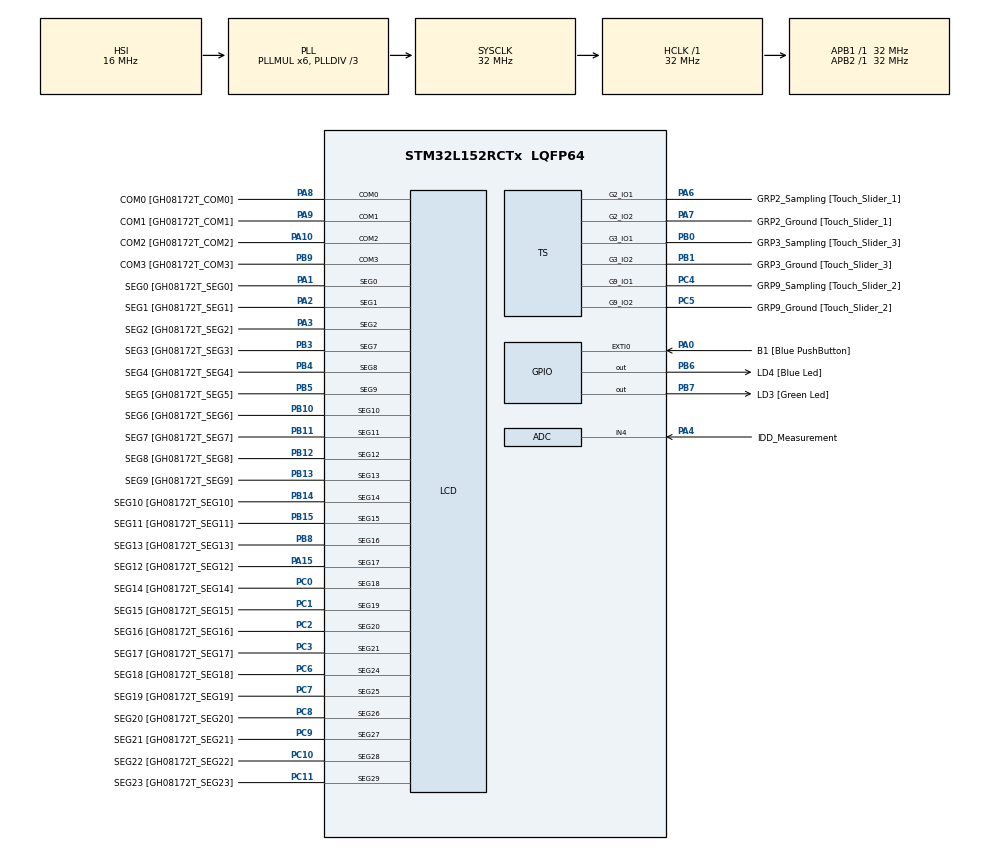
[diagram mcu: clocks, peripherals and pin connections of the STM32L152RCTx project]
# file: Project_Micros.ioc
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ADC.Channel=ADC_CHANNEL_4
ADC.Channel-0\#ChannelRegularConversion=ADC_CHANNEL_4
ADC.Channel-IN4=ADC_CHANNEL_4
ADC.ExternalTrigConv=ADC_EXTERNALTRIGCONV_T2_CC3
ADC.ExternalTrigConv-0\#ChannelRegularConversion=ADC_SOFTWARE_START
ADC.ExternalTrigConvEdge=ADC_EXTERNALTRIGCONVEDGE_RISING
ADC.Rank-0\#ChannelRegularConversion=1
ADC.SamplingTime-0\#ChannelRegularConversion=ADC_SAMPLETIME_4CYCLES
Mcu.Family=STM32L1
Mcu.Name=STM32L152RCTx
Mcu.Package=LQFP64
NVIC.PriorityGroup=NVIC_PRIORITYGROUP_0
PA0-WKUP1.GPIO_Label=B1 [Blue PushButton]
PA0-WKUP1.GPIO_ModeDefaultEXTI=GPIO_MODE_EVT_RISING
PA0-WKUP1.GPIO_PuPd=GPIO_NOPULL
PA0-WKUP1.Signal=GPXTI0
PA1.GPIO_Label=SEG0 [GH08172T_SEG0]
PA1.GPIO_Mode=GPIO_MODE_AF_PP
PA1.GPIO_PuPd=GPIO_NOPULL
PA1.GPIO_Speed=GPIO_SPEED_FREQ_LOW
PA1.Mode=SEG0
PA1.Signal=LCD_SEG0
PA10.GPIO_Label=COM2 [GH08172T_COM2]
PA10.GPIO_Mode=GPIO_MODE_AF_PP
PA10.GPIO_PuPd=GPIO_NOPULL
PA10.GPIO_Speed=GPIO_SPEED_FREQ_LOW
PA10.Mode=1/4 Duty Cycle
PA10.Signal=LCD_COM2
PA13.GPIO_Label=SWDIO
PA13.Mode=Serial_Wire
PA13.Signal=SYS_JTMS-SWDIO
PA14.GPIO_Label=SWCLK
PA14.Mode=Serial_Wire
PA14.Signal=SYS_JTCK-SWCLK
PA15.GPIO_Label=SEG12 [GH08172T_SEG12]
PA15.GPIO_Mode=GPIO_MODE_AF_PP
PA15.GPIO_PuPd=GPIO_NOPULL
PA15.GPIO_Speed=GPIO_SPEED_FREQ_LOW
PA15.Mode=SEG17
PA15.Signal=LCD_SEG17
PA2.GPIO_Label=SEG1 [GH08172T_SEG1]
PA2.GPIO_Mode=GPIO_MODE_AF_PP
PA2.GPIO_PuPd=GPIO_NOPULL
PA2.GPIO_Speed=GPIO_SPEED_FREQ_LOW
PA2.Mode=SEG1
PA2.Signal=LCD_SEG1
PA3.GPIO_Label=SEG2 [GH08172T_SEG2]
PA3.GPIO_Mode=GPIO_MODE_AF_PP
PA3.GPIO_PuPd=GPIO_NOPULL
PA3.GPIO_Speed=GPIO_SPEED_FREQ_LOW
PA3.Mode=SEG2
PA3.Signal=LCD_SEG2
PA4.GPIO_Label=IDD_Measurement
PA4.GPIO_Mode=GPIO_MODE_ANALOG
PA4.GPIO_PuPd=GPIO_NOPULL
PA4.Mode=IN4
PA4.Signal=ADC_IN4
PA6.GPIO_Label=GRP2_Sampling [Touch_Slider_1]
PA6.Mode=G2_IO1-Sampling
PA6.Signal=TS_G2_IO1
PA7.GPIO_Label=GRP2_Ground [Touch_Slider_1]
PA7.Mode=G2_IO2-Channel
PA7.Signal=TS_G2_IO2
PA8.GPIO_Label=COM0 [GH08172T_COM0]
PA8.GPIO_Mode=GPIO_MODE_AF_PP
PA8.GPIO_PuPd=GPIO_NOPULL
PA8.GPIO_Speed=GPIO_SPEED_FREQ_LOW
PA8.Mode=1/4 Duty Cycle
PA8.Signal=LCD_COM0
PA9.GPIO_Label=COM1 [GH08172T_COM1]
PA9.GPIO_Mode=GPIO_MODE_AF_PP
PA9.GPIO_PuPd=GPIO_NOPULL
PA9.GPIO_Speed=GPIO_SPEED_FREQ_LOW
PA9.Mode=1/4 Duty Cycle
PA9.Signal=LCD_COM1
PB0.GPIO_Label=GRP3_Sampling [Touch_Slider_3]
PB0.Mode=G3_IO1-Sampling
PB0.Signal=TS_G3_IO1
PB1.GPIO_Label=GRP3_Ground [Touch_Slider_3]
PB1.Mode=G3_IO2-Channel
PB1.Signal=TS_G3_IO2
PB10.GPIO_Label=SEG6 [GH08172T_SEG6]
PB10.GPIO_Mode=GPIO_MODE_AF_PP
PB10.GPIO_PuPd=GPIO_NOPULL
PB10.GPIO_Speed=GPIO_SPEED_FREQ_LOW
PB10.Mode=SEG10
PB10.Signal=LCD_SEG10
PB11.GPIO_Label=SEG7 [GH08172T_SEG7]
PB11.GPIO_Mode=GPIO_MODE_AF_PP
PB11.GPIO_PuPd=GPIO_NOPULL
PB11.GPIO_Speed=GPIO_SPEED_FREQ_LOW
PB11.Mode=SEG11
PB11.Signal=LCD_SEG11
PB12.GPIO_Label=SEG8 [GH08172T_SEG8]
PB12.GPIO_Mode=GPIO_MODE_AF_PP
PB12.GPIO_PuPd=GPIO_NOPULL
PB12.GPIO_Speed=GPIO_SPEED_FREQ_LOW
PB12.Mode=SEG12
PB12.Signal=LCD_SEG12
PB13.GPIO_Label=SEG9 [GH08172T_SEG9]
PB13.GPIO_Mode=GPIO_MODE_AF_PP
PB13.GPIO_PuPd=GPIO_NOPULL
PB13.GPIO_Speed=GPIO_SPEED_FREQ_LOW
PB13.Mode=SEG13
PB13.Signal=LCD_SEG13
PB14.GPIO_Label=SEG10 [GH08172T_SEG10]
PB14.GPIO_Mode=GPIO_MODE_AF_PP
PB14.GPIO_PuPd=GPIO_NOPULL
PB14.GPIO_Speed=GPIO_SPEED_FREQ_LOW
PB14.Mode=SEG14
PB14.Signal=LCD_SEG14
PB15.GPIO_Label=SEG11 [GH08172T_SEG11]
PB15.GPIO_Mode=GPIO_MODE_AF_PP
PB15.GPIO_PuPd=GPIO_NOPULL
PB15.GPIO_Speed=GPIO_SPEED_FREQ_LOW
PB15.Mode=SEG15
PB15.Signal=LCD_SEG15
PB3.GPIO_Label=SEG3 [GH08172T_SEG3]
PB3.GPIO_Mode=GPIO_MODE_AF_PP
PB3.GPIO_PuPd=GPIO_NOPULL
PB3.GPIO_Speed=GPIO_SPEED_FREQ_LOW
PB3.Mode=SEG7
PB3.Signal=LCD_SEG7
PB4.GPIO_Label=SEG4 [GH08172T_SEG4]
PB4.GPIO_Mode=GPIO_MODE_AF_PP
PB4.GPIO_PuPd=GPIO_NOPULL
PB4.GPIO_Speed=GPIO_SPEED_FREQ_LOW
PB4.Mode=SEG8
PB4.Signal=LCD_SEG8
PB5.GPIO_Label=SEG5 [GH08172T_SEG5]
PB5.GPIO_Mode=GPIO_MODE_AF_PP
PB5.GPIO_PuPd=GPIO_NOPULL
PB5.GPIO_Speed=GPIO_SPEED_FREQ_LOW
PB5.Mode=SEG9
PB5.Signal=LCD_SEG9
PB6.GPIO_Label=LD4 [Blue Led]
PB6.GPIO_ModeDefaultOutputPP=GPIO_MODE_OUTPUT_PP
PB6.GPIO_PuPd=GPIO_NOPULL
PB6.GPIO_Speed=GPIO_SPEED_FREQ_LOW
PB6.Signal=GPIO_Output
PB7.GPIO_Label=LD3 [Green Led]
PB7.GPIO_ModeDefaultOutputPP=GPIO_MODE_OUTPUT_PP
PB7.GPIO_PuPd=GPIO_NOPULL
PB7.GPIO_Speed=GPIO_SPEED_FREQ_LOW
PB7.Signal=GPIO_Output
PB8.GPIO_Label=SEG13 [GH08172T_SEG13]
PB8.GPIO_Mode=GPIO_MODE_AF_PP
PB8.GPIO_PuPd=GPIO_NOPULL
PB8.GPIO_Speed=GPIO_SPEED_FREQ_LOW
PB8.Mode=SEG16
PB8.Signal=LCD_SEG16
PB9.GPIO_Label=COM3 [GH08172T_COM3]
PB9.GPIO_Mode=GPIO_MODE_AF_PP
PB9.GPIO_PuPd=GPIO_NOPULL
PB9.GPIO_Speed=GPIO_SPEED_FREQ_LOW
PB9.Mode=1/4 Duty Cycle
PB9.Signal=LCD_COM3
PC0.GPIO_Label=SEG14 [GH08172T_SEG14]
PC0.GPIO_Mode=GPIO_MODE_AF_PP
PC0.GPIO_PuPd=GPIO_NOPULL
PC0.GPIO_Speed=GPIO_SPEED_FREQ_LOW
PC0.Mode=SEG18
PC0.Signal=LCD_SEG18
PC1.GPIO_Label=SEG15 [GH08172T_SEG15]
PC1.GPIO_Mode=GPIO_MODE_AF_PP
PC1.GPIO_PuPd=GPIO_NOPULL
PC1.GPIO_Speed=GPIO_SPEED_FREQ_LOW
PC1.Mode=SEG19
PC1.Signal=LCD_SEG19
PC10.GPIO_Label=SEG22 [GH08172T_SEG22]
PC10.GPIO_Mode=GPIO_MODE_AF_PP
PC10.GPIO_PuPd=GPIO_NOPULL
PC10.GPIO_Speed=GPIO_SPEED_FREQ_LOW
PC10.Mode=SEG28
PC10.Signal=LCD_SEG28
PC11.GPIO_Label=SEG23 [GH08172T_SEG23]
PC11.GPIO_Mode=GPIO_MODE_AF_PP
PC11.GPIO_PuPd=GPIO_NOPULL
PC11.GPIO_Speed=GPIO_SPEED_FREQ_LOW
PC11.Mode=SEG29
PC11.Signal=LCD_SEG29
PC14-OSC32_IN.GPIO_Label=PC14-OSC32_IN
PC14-OSC32_IN.Mode=LSE-External-Oscillator
PC14-OSC32_IN.Signal=RCC_OSC32_IN
PC15-OSC32_OUT.GPIO_Label=PC15-OSC32_OUT
PC15-OSC32_OUT.Mode=LSE-External-Oscillator
PC15-OSC32_OUT.Signal=RCC_OSC32_OUT
PC2.GPIO_Label=SEG16 [GH08172T_SEG16]
PC2.GPIO_Mode=GPIO_MODE_AF_PP
PC2.GPIO_PuPd=GPIO_NOPULL
PC2.GPIO_Speed=GPIO_SPEED_FREQ_LOW
PC2.Mode=SEG20
PC2.Signal=LCD_SEG20
PC3.GPIO_Label=SEG17 [GH08172T_SEG17]
PC3.GPIO_Mode=GPIO_MODE_AF_PP
PC3.GPIO_PuPd=GPIO_NOPULL
PC3.GPIO_Speed=GPIO_SPEED_FREQ_LOW
PC3.Mode=SEG21
PC3.Signal=LCD_SEG21
PC4.GPIO_Label=GRP9_Sampling [Touch_Slider_2]
PC4.Mode=G9_IO1-Sampling
PC4.Signal=TS_G9_IO1
PC5.GPIO_Label=GRP9_Ground [Touch_Slider_2]
PC5.Mode=G9_IO2-Channel
PC5.Signal=TS_G9_IO2
PC6.GPIO_Label=SEG18 [GH08172T_SEG18]
PC6.GPIO_Mode=GPIO_MODE_AF_PP
PC6.GPIO_PuPd=GPIO_NOPULL
PC6.GPIO_Speed=GPIO_SPEED_FREQ_LOW
PC6.Mode=SEG24
PC6.Signal=LCD_SEG24
PC7.GPIO_Label=SEG19 [GH08172T_SEG19]
PC7.GPIO_Mode=GPIO_MODE_AF_PP
PC7.GPIO_PuPd=GPIO_NOPULL
PC7.GPIO_Speed=GPIO_SPEED_FREQ_LOW
PC7.Mode=SEG25
PC7.Signal=LCD_SEG25
PC8.GPIO_Label=SEG20 [GH08172T_SEG20]
PC8.GPIO_Mode=GPIO_MODE_AF_PP
PC8.GPIO_PuPd=GPIO_NOPULL
PC8.GPIO_Speed=GPIO_SPEED_FREQ_LOW
PC8.Mode=SEG26
PC8.Signal=LCD_SEG26
PC9.GPIO_Label=SEG21 [GH08172T_SEG21]
PC9.GPIO_Mode=GPIO_MODE_AF_PP
PC9.GPIO_PuPd=GPIO_NOPULL
PC9.GPIO_Speed=GPIO_SPEED_FREQ_LOW
PC9.Mode=SEG27
PC9.Signal=LCD_SEG27
ProjectManager.HeapSize=0x200
ProjectManager.StackSize=0x400
ProjectManager.TargetToolchain=STM32CubeIDE
RCC.48MHZClocksFreq_Value=48000000
RCC.AHBFreq_Value=32000000
RCC.APB1Freq_Value=32000000
RCC.APB1TimFreq_Value=32000000
RCC.APB2Freq_Value=32000000
RCC.APB2TimFreq_Value=32000000
RCC.HCLKFreq_Value=32000000
RCC.HSE_VALUE=8000000
RCC.HSI_VALUE=16000000
RCC.MSI_VALUE=2097000
RCC.PLLDIV=RCC_PLL_DIV3
RCC.PLLMUL=RCC_PLL_MUL6
RCC.RTCClockSelectionVirtual=RCC_RTCCLKSOURCE_LSE
RCC.SYSCLKFreq_VALUE=32000000
RCC.SYSCLKSource=RCC_SYSCLKSOURCE_PLLCLK
RCC.USBOutput=48000000
RCC.VCOOutputFreq_Value=96000000
board=STM32L152C-DISCO

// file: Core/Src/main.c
/* USER CODE BEGIN Header */
/**
  ******************************************************************************
  * @file           : main.c
  * @brief          : Main program body
  ******************************************************************************
  * @attention
  *
  * Copyright (c) 2024 STMicroelectronics.
  * All rights reserved.
  *
  * This software is licensed under terms that can be found in the LICENSE file
  * in the root directory of this software component.
  * If no LICENSE file comes with this software, it is provided AS-IS.
  *
  ******************************************************************************
  */
/* USER CODE END Header */
#include "main.h"

/* USER CODE BEGIN Includes */
#include "stm32l1xx_hal.h"
/* USER CODE END Includes */

/* USER CODE BEGIN PD */
// Define GPIO pins connected to the motor driver
#define MOTOR_A_IN1_PIN GPIO_PIN_6 // PC6
#define MOTOR_A_IN2_PIN GPIO_PIN_7 // PC7
#define MOTOR_B_IN3_PIN GPIO_PIN_8 // PC8
#define MOTOR_B_IN4_PIN GPIO_PIN_9 // PC9
/* USER CODE END PD */

ADC_HandleTypeDef hadc;

LCD_HandleTypeDef hlcd;

void SystemClock_Config(void);
static void MX_GPIO_Init(void);
static void MX_ADC_Init(void);
static void MX_LCD_Init(void);
static void MX_TS_Init(void);
/* USER CODE BEGIN PFP */
void stopWheels(void);
void moveForward(void);
void turnRight(void);
void turnLeft(void);
void moveBackward(void);
void espera(uint32_t ms);
/* USER CODE END PFP */

/* USER CODE BEGIN 0 */
void stopWheels(void) {
    // Stop both motors
    GPIOC->BSRR = (GPIO_PIN_6 | GPIO_PIN_7 | GPIO_PIN_8 | GPIO_PIN_9) << 16;

}

void moveForward(void) {
    // Move both motors forward
    GPIOC->BSRR = GPIO_PIN_6 | GPIO_PIN_8;
    GPIOC->BSRR = (GPIO_PIN_7 | GPIO_PIN_9) << 16;
}

void turnRight(void) {
    // Turn right by moving right motor forward and left motor backward
    GPIOC->BSRR = GPIO_PIN_6 | GPIO_PIN_9;
    GPIOC->BSRR = (GPIO_PIN_7 | GPIO_PIN_8) << 16;
}

void turnLeft(void) {
    // Turn left by moving left motor forward and right motor backward
    GPIOC->BSRR = GPIO_PIN_7 | GPIO_PIN_8;
    GPIOC->BSRR = (GPIO_PIN_6 | GPIO_PIN_9) << 16;
}

void moveBackward(void) {
    // Move both motors backward
    GPIOC->BSRR = GPIO_PIN_7 | GPIO_PIN_9;
    GPIOC->BSRR = (GPIO_PIN_6 | GPIO_PIN_8) << 16;
}

void espera(uint32_t ms) {
    HAL_Delay(ms);
}
/* USER CODE END 0 */

int main(void)
{
  /* USER CODE BEGIN 1 */
    HAL_Init(); // Initialize HAL

    // Configure GPIO pins connected to the L298N motor driver
    GPIO_InitTypeDef GPIO_InitStruct = {0};
    GPIO_InitStruct.Pin = GPIO_PIN_6|GPIO_PIN_7|GPIO_PIN_8|GPIO_PIN_9;
    GPIO_InitStruct.Mode = GPIO_MODE_OUTPUT_PP;
    GPIO_InitStruct.Pull = GPIO_NOPULL;
    GPIO_InitStruct.Speed = GPIO_SPEED_FREQ_LOW;
    HAL_GPIO_Init(GPIOC, &GPIO_InitStruct);
  /* USER CODE END 1 */

  /* MCU Configuration--------------------------------------------------------*/

  /* Reset of all peripherals, Initializes the Flash interface and the Systick. */
  HAL_Init();

  /* Configure the system clock */
  SystemClock_Config();

  /* Initialize all configured peripherals */
  MX_GPIO_Init();
  MX_ADC_Init();
  MX_LCD_Init();
  MX_TS_Init();
  /* USER CODE BEGIN 2 */
  // PC6, PC7, PC8, and PC9 as digital outputs (01)
  GPIOC->MODER &= ~(1 << (6*2+1));
  GPIOC->MODER |= (1 << (6*2));

  GPIOC->MODER &= ~(1 << (7*2+1));
  GPIOC->MODER |= (1 << (7*2));

  GPIOC->MODER &= ~(1 << (8*2+1));
  GPIOC->MODER |= (1 << (8*2));

  GPIOC->MODER &= ~(1 << (9*2+1));
  GPIOC->MODER |= (1 << (9*2));
  /* USER CODE END 2 */

  /* Infinite loop */
  while (1)
   {
    // Stop both wheels for 1 second
    stopWheels();
    espera(1000);

    // Move both wheels forward for 2 seconds
    moveForward();
    espera(2000);

    // Stop both wheels for 1 second
    stopWheels();
    espera(1000);

    // Turn right for 2 seconds
    turnRight();
    espera(2000);

    // Stop both wheels for 1 second
    stopWheels();
    espera(1000);

    // Turn left for 2 seconds
    turnLeft();
    espera(2000);

    // Stop both wheels for 1 second
    stopWheels();
    espera(1000);

    // Move both wheels backward for 2 seconds
    moveBackward();
    espera(2000);
   }
}

void SystemClock_Config(void)
{
  RCC_OscInitTypeDef RCC_OscInitStruct = {0};
  RCC_ClkInitTypeDef RCC_ClkInitStruct = {0};
  RCC_PeriphCLKInitTypeDef PeriphClkInit = {0};

  /** Configure the main internal regulator output voltage
  */
  __HAL_PWR_VOLTAGESCALING_CONFIG(PWR_REGULATOR_VOLTAGE_SCALE1);

  /** Initializes the RCC Oscillators according to the specified parameters
  * in the RCC_OscInitTypeDef structure.
  */
  RCC_OscInitStruct.OscillatorType = RCC_OSCILLATORTYPE_HSI|RCC_OSCILLATORTYPE_LSE;
  RCC_OscInitStruct.LSEState = RCC_LSE_ON;
  RCC_OscInitStruct.HSIState = RCC_HSI_ON;
  RCC_OscInitStruct.HSICalibrationValue = RCC_HSICALIBRATION_DEFAULT;
  RCC_OscInitStruct.PLL.PLLState = RCC_PLL_ON;
  RCC_OscInitStruct.PLL.PLLSource = RCC_PLLSOURCE_HSI;
  RCC_OscInitStruct.PLL.PLLMUL = RCC_PLL_MUL6;
  RCC_OscInitStruct.PLL.PLLDIV = RCC_PLL_DIV3;
  if (HAL_RCC_OscConfig(&RCC_OscInitStruct) != HAL_OK)
  {
    Error_Handler();
  }

  /** Initializes the CPU, AHB and APB buses clocks
  */
  RCC_ClkInitStruct.ClockType = RCC_CLOCKTYPE_HCLK|RCC_CLOCKTYPE_SYSCLK
                              |RCC_CLOCKTYPE_PCLK1|RCC_CLOCKTYPE_PCLK2;
  RCC_ClkInitStruct.SYSCLKSource = RCC_SYSCLKSOURCE_PLLCLK;
  RCC_ClkInitStruct.AHBCLKDivider = RCC_SYSCLK_DIV1;
  RCC_ClkInitStruct.APB1CLKDivider = RCC_HCLK_DIV1;
  RCC_ClkInitStruct.APB2CLKDivider = RCC_HCLK_DIV1;

  if (HAL_RCC_ClockConfig(&RCC_ClkInitStruct, FLASH_LATENCY_1) != HAL_OK)
  {
    Error_Handler();
  }
  PeriphClkInit.PeriphClockSelection = RCC_PERIPHCLK_RTC|RCC_PERIPHCLK_LCD;
  PeriphClkInit.RTCClockSelection = RCC_RTCCLKSOURCE_LSE;
  PeriphClkInit.LCDClockSelection = RCC_RTCCLKSOURCE_LSE;

  if (HAL_RCCEx_PeriphCLKConfig(&PeriphClkInit) != HAL_OK)
  {
    Error_Handler();
  }
}

static void MX_ADC_Init(void)
{

  ADC_ChannelConfTypeDef sConfig = {0};

  /** Configure the global features of the ADC (Clock, Resolution, Data Alignment and number of conversion)
  */
  hadc.Instance = ADC1;
  hadc.Init.ClockPrescaler = ADC_CLOCK_ASYNC_DIV1;
  hadc.Init.Resolution = ADC_RESOLUTION_12B;
  hadc.Init.DataAlign = ADC_DATAALIGN_RIGHT;
  hadc.Init.ScanConvMode = ADC_SCAN_DISABLE;
  hadc.Init.EOCSelection = ADC_EOC_SEQ_CONV;
  hadc.Init.LowPowerAutoWait = ADC_AUTOWAIT_DISABLE;
  hadc.Init.LowPowerAutoPowerOff = ADC_AUTOPOWEROFF_DISABLE;
  hadc.Init.ChannelsBank = ADC_CHANNELS_BANK_A;
  hadc.Init.ContinuousConvMode = DISABLE;
  hadc.Init.NbrOfConversion = 1;
  hadc.Init.DiscontinuousConvMode = DISABLE;
  hadc.Init.ExternalTrigConv = ADC_EXTERNALTRIGCONV_T2_CC3;
  hadc.Init.ExternalTrigConvEdge = ADC_EXTERNALTRIGCONVEDGE_RISING;
  hadc.Init.DMAContinuousRequests = DISABLE;
  if (HAL_ADC_Init(&hadc) != HAL_OK)
  {
    Error_Handler();
  }

  /** Configure for the selected ADC regular channel its corresponding rank in the sequencer and its sample time.
  */
  sConfig.Channel = ADC_CHANNEL_4;
  sConfig.Rank = ADC_REGULAR_RANK_1;
  sConfig.SamplingTime = ADC_SAMPLETIME_4CYCLES;
  if (HAL_ADC_ConfigChannel(&hadc, &sConfig) != HAL_OK)
  {
    Error_Handler();
  }

}

static void MX_LCD_Init(void)
{

  hlcd.Instance = LCD;
  hlcd.Init.Prescaler = LCD_PRESCALER_1;
  hlcd.Init.Divider = LCD_DIVIDER_16;
  hlcd.Init.Duty = LCD_DUTY_1_4;
  hlcd.Init.Bias = LCD_BIAS_1_4;
  hlcd.Init.VoltageSource = LCD_VOLTAGESOURCE_INTERNAL;
  hlcd.Init.Contrast = LCD_CONTRASTLEVEL_0;
  hlcd.Init.DeadTime = LCD_DEADTIME_0;
  hlcd.Init.PulseOnDuration = LCD_PULSEONDURATION_0;
  hlcd.Init.MuxSegment = LCD_MUXSEGMENT_DISABLE;
  hlcd.Init.BlinkMode = LCD_BLINKMODE_OFF;
  hlcd.Init.BlinkFrequency = LCD_BLINKFREQUENCY_DIV8;
  if (HAL_LCD_Init(&hlcd) != HAL_OK)
  {
    Error_Handler();
  }

}

static void MX_TS_Init(void)
{

}

static void MX_GPIO_Init(void)
{
  GPIO_InitTypeDef GPIO_InitStruct = {0};

  /* GPIO Ports Clock Enable */
  __HAL_RCC_GPIOC_CLK_ENABLE();
  __HAL_RCC_GPIOA_CLK_ENABLE();
  __HAL_RCC_GPIOB_CLK_ENABLE();

  /*Configure GPIO pin Output Level */
  HAL_GPIO_WritePin(GPIOB, LD4_Pin|LD3_Pin, GPIO_PIN_RESET);

  /*Configure GPIO pin : B1_Pin */
  GPIO_InitStruct.Pin = B1_Pin;
  GPIO_InitStruct.Mode = GPIO_MODE_EVT_RISING;
  GPIO_InitStruct.Pull = GPIO_NOPULL;
  HAL_GPIO_Init(B1_GPIO_Port, &GPIO_InitStruct);

  /*Configure GPIO pins : LD4_Pin LD3_Pin */
  GPIO_InitStruct.Pin = LD4_Pin|LD3_Pin;
  GPIO_InitStruct.Mode = GPIO_MODE_OUTPUT_PP;
  GPIO_InitStruct.Pull = GPIO_NOPULL;
  GPIO_InitStruct.Speed = GPIO_SPEED_FREQ_LOW;
  HAL_GPIO_Init(GPIOB, &GPIO_InitStruct);

}

void Error_Handler(void)
{
  __disable_irq();
  while (1)
  {
  }
}
